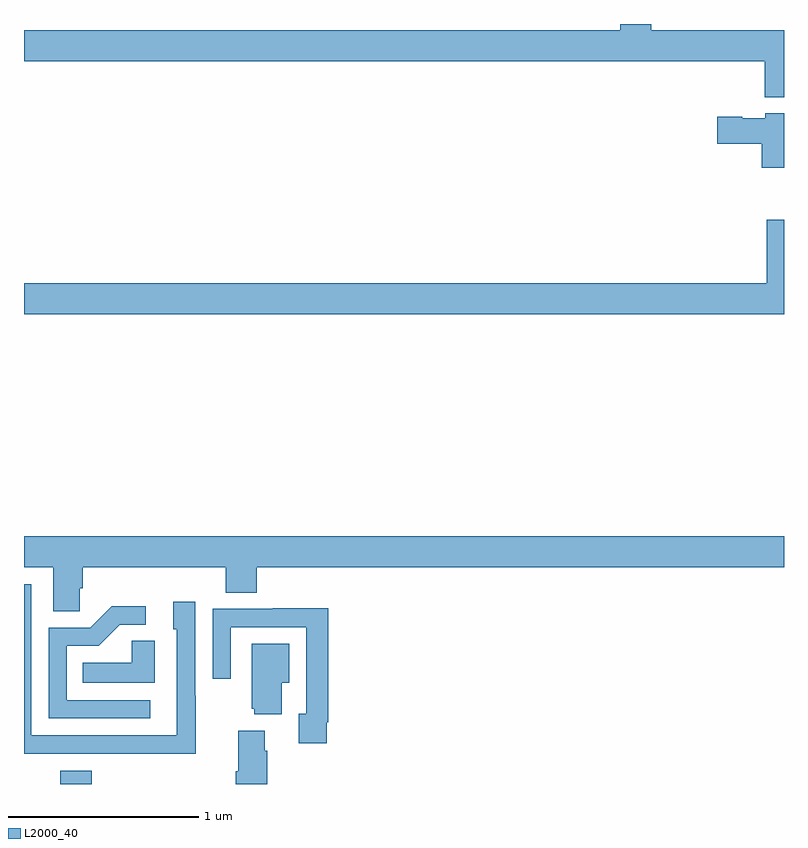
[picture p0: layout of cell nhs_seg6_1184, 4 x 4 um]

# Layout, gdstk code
import gdstk
lib = gdstk.Library(unit=1e-6, precision=1e-09)
def R(c, l, rs):  # rectangles x0, y0, x1, y1
    for r in rs: c.add(gdstk.rectangle(r[:2], r[2:], *l))
def P(c, l, *ps):  # polygons
    for p in ps: c.add(gdstk.Polygon(p, *l))
L2000_40 = (2000, 40)

nhs_seg6_1184 = lib.new_cell('nhs_seg6_1184')
R(nhs_seg6_1184, L2000_40, [(183.191,975.5,183.356,975.571)])
P(nhs_seg6_1184, L2000_40, [(187,979.468),(186.302,979.468),(186.302,979.5),(186.137,979.5),(186.137,979.468),(183,979.468),(183,979.304),(186.899,979.304),(186.899,979.115),(187,979.115)],
  [(187,979.03),(186.9,979.03),(186.9,979.003),(186.78,979.003),(186.78,979.011),(186.648,979.011),(186.648,978.869),(186.884,978.869),(186.884,978.744),(187,978.744)],
  [(187,978.469),(186.91,978.469),(186.91,978.136),(183,978.136),(183,977.972),(187,977.972)],
  [(183.294,976.531),(183.308,976.531),(183.308,976.64),(184.061,976.64),(184.061,976.507),(184.226,976.507),(184.226,976.64),(187,976.64),(187,976.804),(183,976.804),(183,976.64),(183.155,976.64),(183.155,976.408),(183.294,976.408)],
  [(183.903,975.965),(183.9,975.965),(183.9,976.459),(183.785,976.459),(183.785,976.314),(183.804,976.314),(183.804,975.756),(183.039,975.756),(183.039,976.551),(183,976.551),(183,975.66),(183.439,975.66),(183.439,975.659),(183.903,975.659)],
  [(183.664,975.942),(183.225,975.942),(183.225,976.227),(183.394,976.227),(183.505,976.338),(183.64,976.338),(183.64,976.436),(183.461,976.436),(183.348,976.323),(183.129,976.323),(183.129,975.846),(183.664,975.846)],
  [(184.594,975.826),(184.601,975.826),(184.601,976.424),(184.309,976.424),(184.309,976.422),(183.993,976.422),(183.993,976.053),(184.089,976.053),(184.089,976.326),(184.485,976.326),(184.485,975.87),(184.445,975.87),(184.445,975.714),(184.594,975.714)],
  [(183.688,976.253),(183.567,976.253),(183.567,976.138),(183.31,976.138),(183.31,976.034),(183.688,976.034)],
  [(184.357,976.034),(184.396,976.034),(184.396,976.237),(184.199,976.237),(184.199,975.897),(184.211,975.897),(184.211,975.866),(184.357,975.866)],
  [(184.28,975.674),(184.267,975.674),(184.267,975.781),(184.127,975.781),(184.127,975.568),(184.115,975.568),(184.115,975.5),(184.28,975.5)])

lib.write_gds('nhs_seg6_1184.gds')
